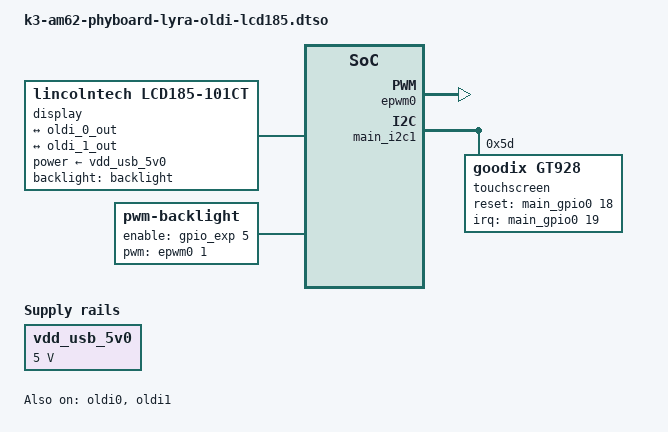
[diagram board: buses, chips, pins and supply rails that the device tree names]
// SPDX-License-Identifier: GPL-2.0-only OR MIT
/*
 * Copyright (C) 2022-2026 PHYTEC Messtechnik GmbH
 * Author: Wadim Egorov <w.egorov@phytec.de>
 */

/dts-v1/;
/plugin/;

#include <dt-bindings/pwm/pwm.h>
#include <dt-bindings/gpio/gpio.h>
#include <dt-bindings/interrupt-controller/irq.h>
#include "k3-pinctrl.h"

&{/} {
	display {
		compatible = "lincolntech,lcd185-101ct";
		backlight = <&backlight>;
		power-supply = <&vdd_usb_5v0>;

		ports {
			#address-cells = <1>;
			#size-cells = <0>;

			port@0 {
				reg = <0>;
				dual-lvds-odd-pixels;
				lcd_in0: endpoint {
					remote-endpoint = <&oldi_0_out>;
				};
			};

			port@1 {
				reg = <1>;
				dual-lvds-even-pixels;
				lcd_in1: endpoint {
					remote-endpoint = <&oldi_1_out>;
				};
			};
		};
	};

	backlight: backlight {
		compatible = "pwm-backlight";
		brightness-levels = <0 4 8 16 32 64 128 255>;
		default-brightness-level = <6>;
		enable-gpios = <&gpio_exp 5 GPIO_ACTIVE_HIGH>;
		pinctrl-names = "default";
		pinctrl-0 = <&bl_pwm_pins_default>;
		pwms = <&epwm0 1 50000 0>;
	};

	vdd_usb_5v0: regulator-vdd-usb5v0 {
		compatible = "regulator-fixed";
		regulator-name = "vdd-usb5v0";
		regulator-min-microvolt = <5000000>;
		regulator-max-microvolt = <5000000>;
		regulator-always-on;
		regulator-boot-on;
	};
};

&dss {
	pinctrl-names = "default";
	pinctrl-0 = <&main_oldi0_pins_default>, <&main_dss0_pins_default>;
};

&dss_ports {
	#address-cells = <1>;
	#size-cells = <0>;

	/* VP1: Output to OLDI */
	port@0 {
		reg = <0>;
		#address-cells = <1>;
		#size-cells = <0>;

		dpi0_out0: endpoint@0 {
			reg = <0>;
			remote-endpoint = <&oldi_0_in>;
		};

		dpi0_out1: endpoint@1 {
			reg = <1>;
			remote-endpoint = <&oldi_1_in>;
		};
	};
};

&epwm0 {
	status = "okay";
};

&main_i2c1 {
	#address-cells = <1>;
	#size-cells = <0>;

	touchscreen@5d {
		compatible = "goodix,gt928";
		reg = <0x5d>;

		pinctrl-names = "default";
		pinctrl-0 = <&touch_screen_pins_default>;

		interrupt-parent = <&main_gpio0>;
		interrupts = <19 IRQ_TYPE_LEVEL_LOW>;

		reset-gpios = <&main_gpio0 18 GPIO_ACTIVE_HIGH>;
		irq-gpios = <&main_gpio0 19 GPIO_ACTIVE_HIGH>;
	};
};

&main_pmx0 {
	bl_pwm_pins_default: bl-pwm-default-pins {
		pinctrl-single,pins = <
			AM62X_IOPAD(0x01b8, PIN_INPUT, 2) /* (C13) SPI0_CS1.EHRPWM0_B */
		>;
	};

	touch_screen_pins_default: touch-screen-default-pins {
		pinctrl-single,pins = <
			AM62X_IOPAD(0x048, PIN_OUTPUT, 7) /* (N25) GPMC0_AD3.GPIO0_18 - RST */
			AM62X_IOPAD(0x04c, PIN_INPUT, 7) /* (P24) GPMC0_AD4.GPIO0_19 - INT */
		>;
	};

	main_oldi0_pins_default: main-oldi0-default-pins {
		pinctrl-single,pins = <
			AM62X_IOPAD(0x0260, PIN_OUTPUT, 0) /* (AA5) OLDI0_A0N */
			AM62X_IOPAD(0x025c, PIN_OUTPUT, 0) /* (Y6) OLDI0_A0P */
			AM62X_IOPAD(0x0268, PIN_OUTPUT, 0) /* (AD3) OLDI0_A1N */
			AM62X_IOPAD(0x0264, PIN_OUTPUT, 0) /* (AB4) OLDI0_A1P */
			AM62X_IOPAD(0x0270, PIN_OUTPUT, 0) /* (Y8) OLDI0_A2N */
			AM62X_IOPAD(0x026c, PIN_OUTPUT, 0) /* (AA8) OLDI0_A2P */
			AM62X_IOPAD(0x0278, PIN_OUTPUT, 0) /* (AB6) OLDI0_A3N */
			AM62X_IOPAD(0x0274, PIN_OUTPUT, 0) /* (AA7) OLDI0_A3P */
			AM62X_IOPAD(0x0280, PIN_OUTPUT, 0) /* (AC6) OLDI0_A4N */
			AM62X_IOPAD(0x027c, PIN_OUTPUT, 0) /* (AC5) OLDI0_A4P */
			AM62X_IOPAD(0x0288, PIN_OUTPUT, 0) /* (AE5) OLDI0_A5N */
			AM62X_IOPAD(0x0284, PIN_OUTPUT, 0) /* (AD6) OLDI0_A5P */
			AM62X_IOPAD(0x0290, PIN_OUTPUT, 0) /* (AE6) OLDI0_A6N */
			AM62X_IOPAD(0x028c, PIN_OUTPUT, 0) /* (AD7) OLDI0_A6P */
			AM62X_IOPAD(0x0298, PIN_OUTPUT, 0) /* (AD8) OLDI0_A7N */
			AM62X_IOPAD(0x0294, PIN_OUTPUT, 0) /* (AE7) OLDI0_A7P */
			AM62X_IOPAD(0x02a0, PIN_OUTPUT, 0) /* (AD4) OLDI0_CLK0N */
			AM62X_IOPAD(0x029c, PIN_OUTPUT, 0) /* (AE3) OLDI0_CLK0P */
			AM62X_IOPAD(0x02a8, PIN_OUTPUT, 0) /* (AE4) OLDI0_CLK1N */
			AM62X_IOPAD(0x02a4, PIN_OUTPUT, 0) /* (AD5) OLDI0_CLK1P */
		>;
	};
};

&oldi0 {
	ti,companion-oldi = <&oldi1>;
	status = "okay";
};

&oldi0_port0 {
	oldi_0_in: endpoint {
		remote-endpoint = <&dpi0_out0>;
	};
};

&oldi0_port1 {
	oldi_0_out: endpoint {
		remote-endpoint = <&lcd_in0>;
	};
};

&oldi1 {
	ti,secondary-oldi;
	status = "okay";
};

&oldi1_port0 {
	oldi_1_in: endpoint {
		remote-endpoint = <&dpi0_out1>;
	};
};

&oldi1_port1 {
	oldi_1_out: endpoint {
		remote-endpoint = <&lcd_in1>;
	};
};
